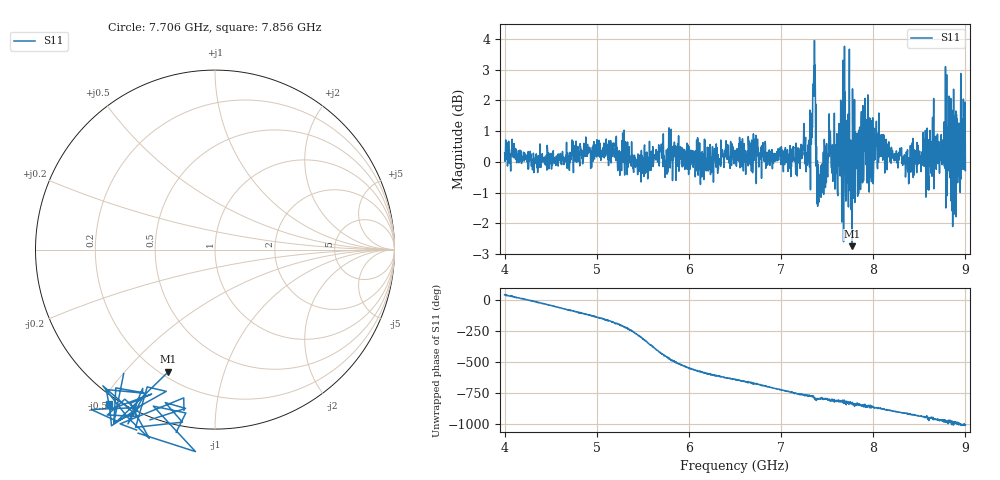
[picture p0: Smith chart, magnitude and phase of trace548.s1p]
! Created with skrf 1.8.0 (http://scikit-rf.org).
# Hz S RI R 50.0
!freq ReS11 ImS11
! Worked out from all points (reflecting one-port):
!   1601 points, 4 GHz to 9 GHz, reference 50 ohm
!   lowest |S11| = -2.7 dB at 7.772 GHz (marker M1), VSWR 6.37, Z = 11.4 - j33.2 ohm
!   phase of S11 starts at 44 deg and turns -1052 deg over the sweep
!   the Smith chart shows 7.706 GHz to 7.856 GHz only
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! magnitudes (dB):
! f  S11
! 4 GHz  0.3
! 4.625 GHz  0.1
! 5.25 GHz  -0.4
! 5.875 GHz  -0.1
! 6.5 GHz  0.4
! 7.125 GHz  0.2
! 7.294 GHz  0.0
! 7.347 GHz  2.5
! 7.369 GHz  3.2
! 7.4 GHz  -1.2
! 7.412 GHz  -0.4
! 7.519 GHz  0.2
! 7.634 GHz  -0.2
! 7.669 GHz  0.9
! 7.75 GHz  -1.0
! 7.772 GHz  -2.7
! 7.8 GHz  -1.3
! 7.928 GHz  0.4
! 7.956 GHz  -1.0
! 8.097 GHz  0.5
! 8.375 GHz  -0.3
! 8.584 GHz  1.1
! 8.666 GHz  0.8
! 8.741 GHz  0.0
! 8.8 GHz  0.3
! 8.869 GHz  -0.4
! 8.972 GHz  0.7
! 9 GHz  -0.3
